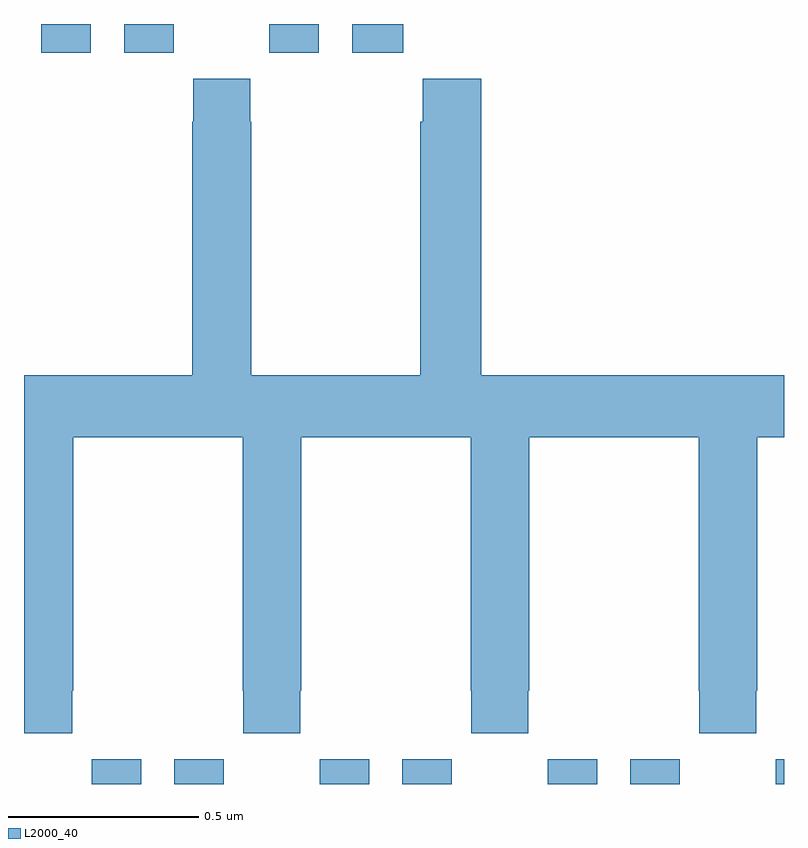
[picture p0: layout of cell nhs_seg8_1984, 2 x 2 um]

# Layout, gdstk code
import gdstk
lib = gdstk.Library(unit=1e-6, precision=1e-09)
def R(c, l, rs):  # rectangles x0, y0, x1, y1
    for r in rs: c.add(gdstk.rectangle(r[:2], r[2:], *l))
def P(c, l, *ps):  # polygons
    for p in ps: c.add(gdstk.Polygon(p, *l))
L2000_40 = (2000, 40)

nhs_seg8_1984 = lib.new_cell('nhs_seg8_1984')
R(nhs_seg8_1984, L2000_40, [(137.178,1136.9,137.308,1136.965), (137.396,1136.9,137.526,1136.965), (137.778,1136.9,137.908,1136.965), (137.996,1136.9,138.126,1136.965), (138.378,1136.9,138.508,1136.965), (138.596,1136.9,138.726,1136.965), (138.978,1136.9,139,1136.965), (137.046,1138.824,137.176,1138.9), (137.264,1138.824,137.394,1138.9), (137.646,1138.824,137.776,1138.9), (137.864,1138.824,137.998,1138.9)])
P(nhs_seg8_1984, L2000_40, [(138.203,1138.756),(138.049,1138.756),(138.049,1138.643),(138.043,1138.643),(138.043,1137.976),(137.598,1137.976),(137.598,1138.643),(137.595,1138.643),(137.595,1138.756),(137.445,1138.756),(137.445,1138.643),(137.443,1138.643),(137.443,1137.976),(137,1137.976),(137,1137.033),(137.127,1137.033),(137.127,1137.145),(137.13,1137.145),(137.13,1137.812),(137.575,1137.812),(137.575,1137.145),(137.577,1137.145),(137.577,1137.033),(137.727,1137.033),(137.727,1137.145),(137.73,1137.145),(137.73,1137.812),(138.175,1137.812),(138.175,1137.145),(138.177,1137.145),(138.177,1137.033),(138.327,1137.033),(138.327,1137.145),(138.33,1137.145),(138.33,1137.812),(138.775,1137.812),(138.775,1137.145),(138.777,1137.145),(138.777,1137.033),(138.927,1137.033),(138.927,1137.145),(138.93,1137.145),(138.93,1137.812),(139,1137.812),(139,1137.976),(138.203,1137.976)])

lib.write_gds('nhs_seg8_1984.gds')
